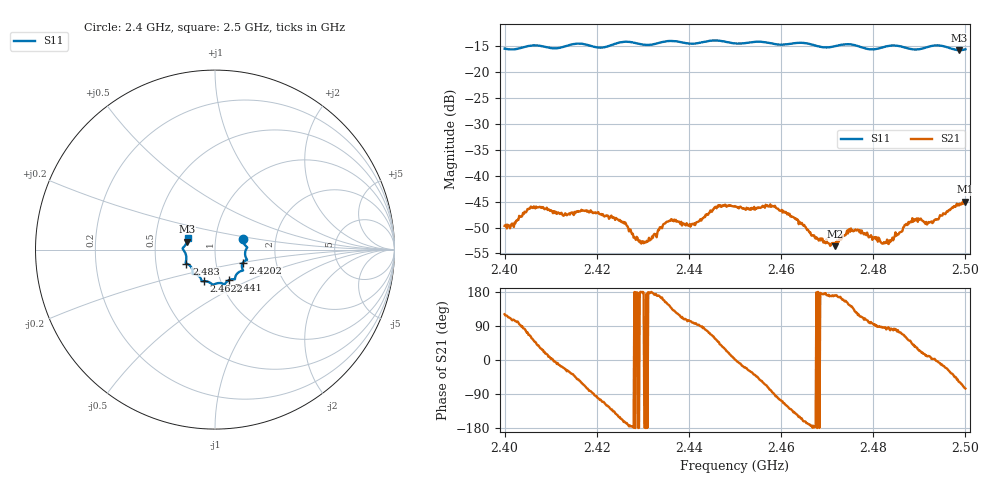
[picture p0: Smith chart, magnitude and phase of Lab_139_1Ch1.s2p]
# Hz S RI R 50
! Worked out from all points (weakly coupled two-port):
!   601 points, 2.4 GHz to 2.5 GHz, reference 50 ohm
!   highest |S21| = -45.01 dB at 2.5 GHz (marker M1); lowest = -53.6 dB at 2.4717 GHz (marker M2)
!   lowest |S11| = -15.8 dB at 2.4987 GHz (marker M3), VSWR 1.39, Z = 36.4 + j3.3 ohm
!   |S11| at or under -10 dB: start of sweep to end of sweep
!   S12 and S22 are empty: the file has one direction only
!   S11 on the Smith chart (normalised r, x): 2.4 GHz: 1.36, +0.17; 2.4202 GHz: 1.35, -0.20; 2.441 GHz: 1.10, -0.39; 2.4622 GHz: 0.83, -0.30; 2.483 GHz: 0.72, -0.12; 2.5 GHz: 0.73, +0.09
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2.4e9  0.1564 0.0604  -0.00167 0.00282  0 0  0 0
2.406e9  0.1793 0.0133  0.00272 0.00407  0 0  0 0
2.416667e9  0.1777 -0.0581  0.00236 -0.00405  0 0  0 0
2.420167e9  0.1562 -0.0719  -0.000774 -0.00433  0 0  0 0
2.425833e9  0.1569 -0.1155  -0.00343 -0.00101  0 0  0 0
2.429667e9  0.1375 -0.1227  -0.00222 1.77e-05  0 0  0 0
2.433333e9  0.113 -0.152  -0.00295 0.000526  0 0  0 0
2.436e9  0.1108 -0.165  -0.00278 0.00239  0 0  0 0
2.441e9  0.077 -0.1706  -0.000483 0.00335  0 0  0 0
2.446167e9  0.0513 -0.194  0.00317 0.00384  0 0  0 0
2.45e9  0.0267 -0.1863  0.00509 0.000106  0 0  0 0
2.458167e9  -0.0262 -0.1856  0.000335 -0.0051  0 0  0 0
2.462167e9  -0.0629 -0.1763  -0.00264 -0.00312  0 0  0 0
2.466667e9  -0.0764 -0.1671  -0.00262 -0.000321  0 0  0 0
2.471667e9  -0.1118 -0.1369  -0.00206 0.000338  0 0  0 0
2.475167e9  -0.1259 -0.1344  -0.00241 0.00194  0 0  0 0
2.483e9  -0.1588 -0.078  0.000298 0.0024  0 0  0 0
2.483333e9  -0.1604 -0.0773  0.000138 0.00219  0 0  0 0
2.488167e9  -0.1594 -0.0464  0.0024 0.00269  0 0  0 0
2.492667e9  -0.1778 0.0015  0.00361 0.00017  0 0  0 0
2.498667e9  -0.1557 0.0441  0.00272 -0.00441  0 0  0 0
2.5e9  -0.1528 0.0626  0.00143 -0.00544  0 0  0 0
